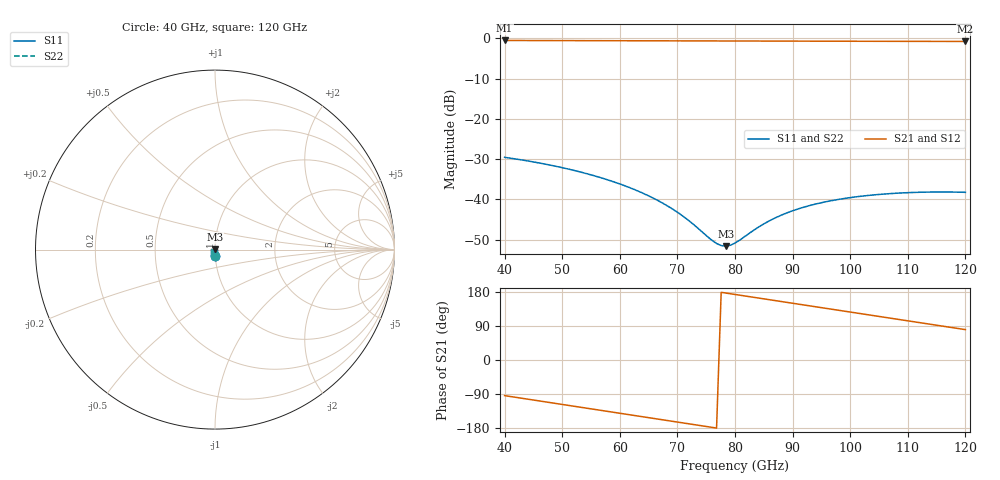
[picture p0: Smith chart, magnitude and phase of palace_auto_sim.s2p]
#  GHZ S DB R 50
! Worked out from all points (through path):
!   101 points, 40 GHz to 120 GHz, reference 50 ohm
!   highest |S21| = -0.51 dB at 40 GHz (marker M1); lowest = -0.7 dB at 120 GHz (marker M2)
!   group delay of S21, straight-line fit = 6.45 ps
!   lowest |S11| = -51.6 dB at 78.4 GHz (marker M3), VSWR 1.01, Z = 50 + j0.261 ohm
!   |S11| at or under -10 dB: start of sweep to end of sweep
!   |S22| runs from -51.6 to -29.5 dB; largest |S21 - S12| = 1.1e-14
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40  -29.54 -88.2  -0.51 -94.0  -0.51 -94.0  -29.53 -88.2
43.2  -30.24 -96.9  -0.52 -101.4  -0.52 -101.4  -30.23 -96.9
46.4  -31.05 -105.7  -0.53 -108.9  -0.53 -108.9  -31.04 -105.7
49.6  -31.98 -114.7  -0.54 -116.3  -0.54 -116.3  -31.97 -114.7
53.6  -33.35 -126.2  -0.55 -125.6  -0.55 -125.6  -33.34 -126.3
60.8  -36.57 -148.5  -0.58 -142.4  -0.58 -142.4  -36.57 -148.5
64  -38.44 -159.6  -0.59 -149.8  -0.59 -149.8  -38.46 -159.6
67.2  -40.72 -172.1  -0.60 -157.3  -0.60 -157.3  -40.75 -172.1
71.2  -44.40 167.9  -0.61 -166.6  -0.61 -166.6  -44.47 167.7
76  -50.15 122.9  -0.63 -177.7  -0.63 -177.7  -50.25 121.9
77.6  -51.46 97.0  -0.63 178.6  -0.63 178.6  -51.50 95.5
78.4  -51.61 82.6  -0.63 176.7  -0.63 176.7  -51.60 81.0
80  -50.84 56.0  -0.64 173.0  -0.64 173.0  -50.74 54.6
84  -46.95 14.5  -0.65 163.7  -0.65 163.7  -46.81 13.9
86.4  -45.00 -0.1  -0.66 158.1  -0.66 158.1  -44.87 -0.4
89.6  -43.02 -14.9  -0.67 150.7  -0.67 150.7  -42.92 -15.1
93.6  -41.28 -30.0  -0.68 141.4  -0.68 141.4  -41.21 -30.1
96.8  -40.29 -40.9  -0.69 134.0  -0.69 134.0  -40.24 -41.0
100.8  -39.40 -53.7  -0.71 124.7  -0.71 124.7  -39.37 -53.7
107.2  -38.53 -73.5  -0.72 109.9  -0.72 109.9  -38.56 -73.5
113.6  -38.17 -93.3  -0.73 95.0  -0.73 95.0  -38.28 -93.4
120  -38.23 -113.7  -0.75 80.2  -0.75 80.2  -38.44 -114.0
